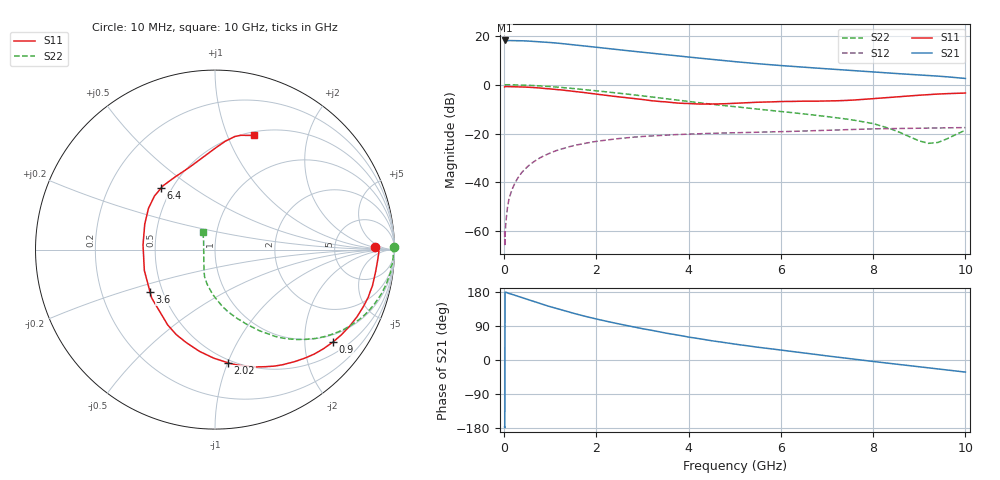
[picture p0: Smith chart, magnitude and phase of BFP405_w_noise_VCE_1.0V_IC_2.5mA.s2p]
! Infineon Technologies  Discrete & RF Semiconductors
! BFP405
! VCE =  1.0 V,  IC =  2.5 mA
! Common Emitter S-Parameters:  Jan 2016
# GHz  S  MA  R  50
!  f  S11  S21  S12  S22
! GHz  MAG  ANG  MAG  ANG  MAG  ANG  MAG  ANG
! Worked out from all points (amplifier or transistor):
!   233 points, 10 MHz to 10 GHz, reference 50 ohm
!   highest |S21| = 18.0 dB at 10 MHz (marker M1)
!   |S21| within 3 dB of that: start of sweep to 2.104 GHz
!   unconditionally stable (mu >= 1): 13.53 MHz to 15.26 MHz; 4.064 GHz to end of sweep
!   at 200 MHz: K = 0.04, MSG = 29.8 dB, |S12| = -41.6 dB
!   at 1.74 GHz: K = 0.38, MSG = 19.9 dB, |S12| = -24.0 dB
!   at 10 GHz: K = 1.66, MAG = 5.3 dB, |S12| = -17.6 dB
!   lowest NFmin = 0.94 dB at 900 MHz
!   S11 on the Smith chart (normalised r, x): 10 MHz: 17, +3; 900 MHz: 0.79, -2.69; 2.02 GHz: 0.47, -1.00; 3.6 GHz: 0.43, -0.25; 6.4 GHz: 0.44, +0.38; 10 GHz: 0.54, +1.25
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0.01  0.8936 1.0  7.966 -177.0  0.001 -20.8  0.9977 0.8
0.015  0.9035 0.2  7.914 -178.9  0.0005 26.5  0.9941 0.4
0.02  0.9136 -0.6  7.871 179.1  0.0008 93.2  0.9906 0.0
0.045  0.9116 -1.8  7.872 178.5  0.0018 88.4  0.993 -0.8
0.095  0.9078 -4.0  7.92 176.0  0.0042 87.9  0.9938 -2.2
0.24  0.901 -10.1  7.919 170.3  0.01 85.1  0.9832 -5.8
0.5  0.8851 -21.2  7.769 159.9  0.0208 78.7  0.9711 -11.9
0.9  0.8349 -38.1  7.363 144.3  0.0365 69.4  0.9254 -21.1
1.3  0.7662 -54.5  6.808 130.0  0.0503 60.7  0.8645 -29.4
1.68  0.6963 -69.8  6.254 117.7  0.0614 53.1  0.7999 -36.4
2.02  0.6351 -83.4  5.759 107.7  0.0696 47.1  0.7425 -41.9
2.62  0.5425 -107.1  4.992 91.8  0.0812 37.9  0.6461 -50.4
3  0.4954 -122.2  4.58 82.6  0.0871 32.7  0.5881 -55.3
3.4  0.4493 -138.3  4.179 73.6  0.0919 27.8  0.5294 -60.0
3.6  0.4329 -146.6  3.999 69.2  0.094 25.5  0.5021 -62.3
4.5  0.4018 176.4  3.277 50.8  0.101 16.7  0.3967 -72.9
5.1  0.4187 157.7  2.884 40.3  0.1042 12.0  0.3444 -79.3
6.4  0.456 131.0  2.301 20.1  0.1117 4.5  0.2575 -91.6
6.8  0.4588 122.8  2.162 14.0  0.1148 2.3  0.2336 -95.6
8.4  0.5515 91.8  1.707 -9.5  0.1263 -8.4  0.1225 -120.1
9.2  0.6227 82.2  1.529 -20.6  0.1296 -13.4  0.063 -173.9
10  0.6717 71.3  1.333 -31.9  0.1321 -17.8  0.1171 125.0
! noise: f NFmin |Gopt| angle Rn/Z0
0.9  0.94  0.53  14  0.37
1.8  1.25  0.42  26  0.35
2.4  1.45  0.36  35  0.34
3  1.48  0.34  51  0.32
4  1.69  0.22  76  0.25
5  2.05  0.17  117  0.21
